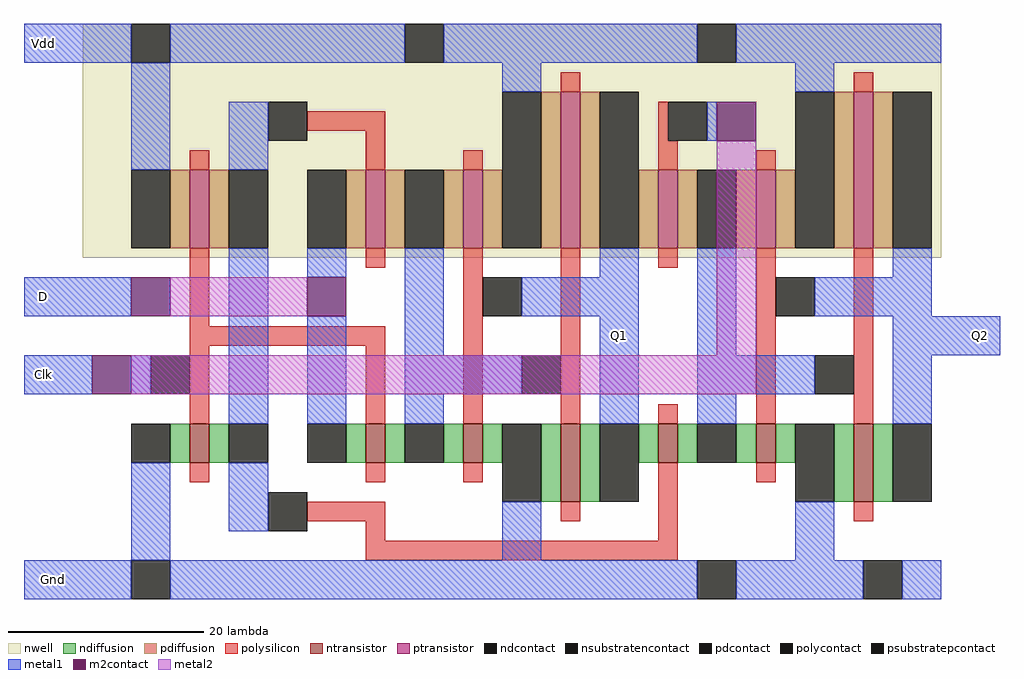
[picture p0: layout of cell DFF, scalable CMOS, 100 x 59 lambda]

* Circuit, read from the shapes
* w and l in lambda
.subckt DFF Clk D Gnd Q1 Q2 Vdd
M1 n1 Clk Gnd Gnd nfet w=4 l=2
M2 n2 Clk D Gnd nfet w=4 l=2
M3 Gnd Q1 n2 Gnd nfet w=4 l=2
M4 Q1 n2 Gnd Gnd nfet w=8 l=2
M5 n3 n1 Q1 Gnd nfet w=4 l=2
M6 Gnd Q2 n3 Gnd nfet w=4 l=2
M7 Q2 n3 Gnd Gnd nfet w=8 l=2
M8 n1 Clk Vdd Vdd pfet w=8 l=2
M9 n2 n1 D Vdd pfet w=8 l=2
M10 Vdd Q1 n2 Vdd pfet w=8 l=2
M11 Q1 n2 Vdd Vdd pfet w=16 l=2
M12 n3 Clk Q1 Vdd pfet w=8 l=2
M13 Vdd Q2 n3 Vdd pfet w=8 l=2
M14 Q2 n3 Vdd Vdd pfet w=16 l=2
.ends

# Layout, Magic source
magic
tech scmos
<< nwell >>
rect -37 33 51 57
<< polysilicon >>
rect 12 50 14 52
rect 42 50 44 52
rect -14 46 -6 48
rect -26 42 -24 44
rect -8 42 -6 46
rect 2 42 4 44
rect 22 45 23 49
rect 22 42 24 45
rect 32 42 34 44
rect -26 26 -24 34
rect -8 32 -6 34
rect -26 24 -6 26
rect -26 16 -24 24
rect -8 16 -6 24
rect 2 16 4 34
rect 12 16 14 34
rect 22 32 24 34
rect 22 16 24 18
rect 32 16 34 34
rect 42 16 44 34
rect -26 10 -24 12
rect -8 10 -6 12
rect 2 10 4 12
rect -14 6 -6 8
rect 12 6 14 8
rect -8 4 -6 6
rect 22 4 24 12
rect 32 10 34 12
rect 42 6 44 8
rect -8 2 24 4
<< ndiffusion >>
rect -28 12 -26 16
rect -24 12 -22 16
rect -10 12 -8 16
rect -6 12 -4 16
rect 0 12 2 16
rect 4 12 6 16
rect 10 8 12 16
rect 14 8 16 16
rect 20 12 22 16
rect 24 12 26 16
rect 30 12 32 16
rect 34 12 36 16
rect 40 8 42 16
rect 44 8 46 16
<< pdiffusion >>
rect -28 34 -26 42
rect -24 34 -22 42
rect -10 34 -8 42
rect -6 34 -4 42
rect 0 34 2 42
rect 4 34 6 42
rect 10 34 12 50
rect 14 34 16 50
rect 20 34 22 42
rect 24 34 26 42
rect 30 34 32 42
rect 34 34 36 42
rect 40 34 42 50
rect 44 34 46 50
<< metal1 >>
rect -43 53 -32 57
rect -28 53 -4 57
rect 0 53 26 57
rect 30 53 51 57
rect -32 42 -28 53
rect 6 50 10 53
rect 36 50 40 53
rect -22 42 -18 49
rect -43 27 -32 31
rect -43 19 -36 23
rect -32 19 -30 23
rect -22 16 -18 34
rect -32 2 -28 12
rect -14 31 -10 34
rect -14 16 -10 27
rect 27 45 28 49
rect -4 23 0 34
rect 16 31 20 34
rect 8 27 20 31
rect -4 19 8 23
rect -4 16 0 19
rect 16 16 20 27
rect -22 5 -18 12
rect 26 23 30 34
rect 46 31 50 34
rect 38 27 50 31
rect 46 23 57 27
rect 26 19 38 23
rect 26 16 30 19
rect 46 16 50 23
rect 6 2 10 8
rect 36 2 40 8
rect -43 -2 -32 2
rect -28 -2 26 2
rect 30 -2 43 2
rect 47 -2 51 2
<< metal2 >>
rect -28 27 -14 31
rect 28 23 32 45
rect -32 19 32 23
<< ntransistor >>
rect -26 12 -24 16
rect -8 12 -6 16
rect 2 12 4 16
rect 12 8 14 16
rect 22 12 24 16
rect 32 12 34 16
rect 42 8 44 16
<< ptransistor >>
rect -26 34 -24 42
rect -8 34 -6 42
rect 2 34 4 42
rect 12 34 14 50
rect 22 34 24 42
rect 32 34 34 42
rect 42 34 44 50
<< polycontact >>
rect -18 45 -14 49
rect 23 45 27 49
rect -30 19 -26 23
rect 4 27 8 31
rect 8 19 12 23
rect 34 27 38 31
rect 38 19 42 23
rect -18 5 -14 9
<< ndcontact >>
rect -32 12 -28 16
rect -22 12 -18 16
rect -14 12 -10 16
rect -4 12 0 16
rect 6 8 10 16
rect 16 8 20 16
rect 26 12 30 16
rect 36 8 40 16
rect 46 8 50 16
<< pdcontact >>
rect -32 34 -28 42
rect -22 34 -18 42
rect -14 34 -10 42
rect -4 34 0 42
rect 6 34 10 50
rect 16 34 20 50
rect 26 34 30 42
rect 36 34 40 50
rect 46 34 50 50
<< m2contact >>
rect -32 27 -28 31
rect -36 19 -32 23
rect -14 27 -10 31
rect 28 45 32 49
<< psubstratepcontact >>
rect -32 -2 -28 2
rect 26 -2 30 2
rect 43 -2 47 2
<< nsubstratencontact >>
rect -32 53 -28 57
rect -4 53 0 57
rect 26 53 30 57
<< labels >>
rlabel metal1 -41 29 -41 29 3 D
rlabel metal1 -41 21 -41 21 3 Clk
rlabel metal1 18 25 18 25 1 Q1
rlabel metal1 -40 0 -40 0 2 Gnd
rlabel metal1 -41 55 -41 55 4 Vdd
rlabel metal1 55 25 55 25 7 Q2
<< end >>
